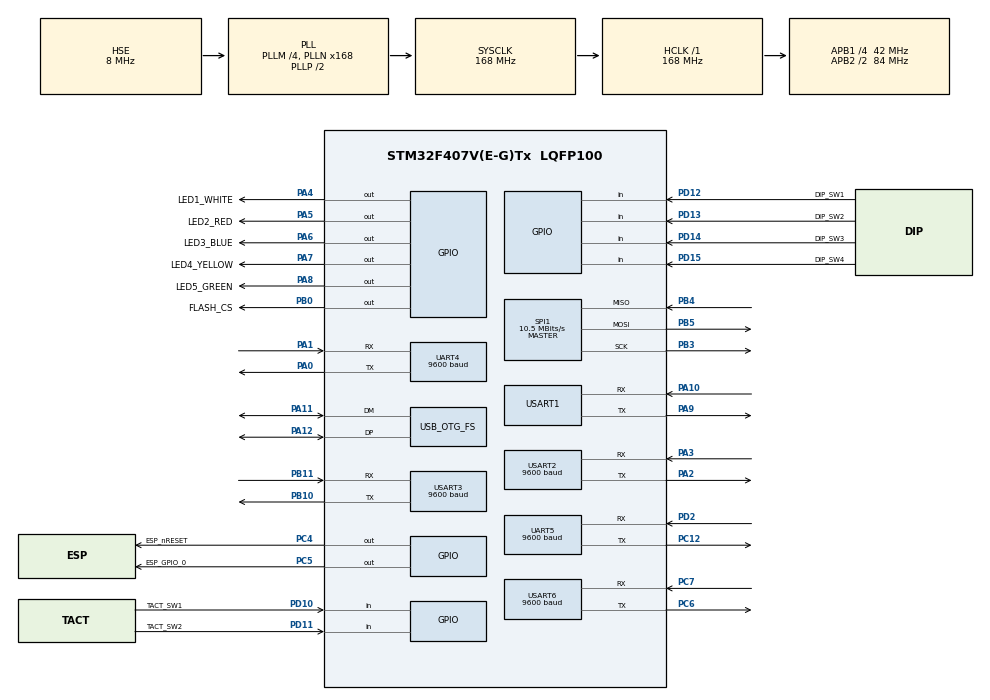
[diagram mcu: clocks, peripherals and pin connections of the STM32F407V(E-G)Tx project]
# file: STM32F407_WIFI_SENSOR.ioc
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Mcu.Family=STM32F4
Mcu.Name=STM32F407V(E-G)Tx
Mcu.Package=LQFP100
NVIC.OTG_FS_IRQn=true\:0\:0\:false\:false\:true\:false\:true\:true
NVIC.PriorityGroup=NVIC_PRIORITYGROUP_4
NVIC.SPI1_IRQn=true\:0\:0\:false\:false\:true\:true\:true\:true
NVIC.TIM4_IRQn=true\:0\:0\:false\:false\:true\:true\:true\:true
NVIC.UART4_IRQn=true\:0\:0\:false\:false\:true\:true\:true\:true
NVIC.UART5_IRQn=true\:0\:0\:false\:false\:true\:true\:true\:true
NVIC.USART1_IRQn=true\:0\:0\:false\:false\:true\:true\:true\:true
NVIC.USART2_IRQn=true\:0\:0\:false\:false\:true\:true\:true\:true
NVIC.USART3_IRQn=true\:0\:0\:false\:false\:true\:true\:true\:true
NVIC.USART6_IRQn=true\:0\:0\:false\:false\:true\:true\:true\:true
PA0-WKUP.Mode=Asynchronous
PA0-WKUP.Signal=UART4_TX
PA1.Mode=Asynchronous
PA1.Signal=UART4_RX
PA10.Mode=Asynchronous
PA10.Signal=USART1_RX
PA11.Mode=Device_Only
PA11.Signal=USB_OTG_FS_DM
PA12.Mode=Device_Only
PA12.Signal=USB_OTG_FS_DP
PA13.Mode=Serial_Wire
PA13.Signal=SYS_JTMS-SWDIO
PA14.Mode=Serial_Wire
PA14.Signal=SYS_JTCK-SWCLK
PA2.Mode=Asynchronous
PA2.Signal=USART2_TX
PA3.Mode=Asynchronous
PA3.Signal=USART2_RX
PA4.GPIO_Label=LED1_WHITE
PA4.Signal=GPIO_Output
PA5.GPIO_Label=LED2_RED
PA5.Signal=GPIO_Output
PA6.GPIO_Label=LED3_BLUE
PA6.Signal=GPIO_Output
PA7.GPIO_Label=LED4_YELLOW
PA7.Signal=GPIO_Output
PA8.GPIO_Label=LED5_GREEN
PA8.Signal=GPIO_Output
PA9.Mode=Asynchronous
PA9.Signal=USART1_TX
PB0.GPIO_Label=FLASH_CS
PB0.Signal=GPIO_Output
PB10.Mode=Asynchronous
PB10.Signal=USART3_TX
PB11.Mode=Asynchronous
PB11.Signal=USART3_RX
PB3.Mode=Full_Duplex_Master
PB3.Signal=SPI1_SCK
PB4.Mode=Full_Duplex_Master
PB4.Signal=SPI1_MISO
PB5.Mode=Full_Duplex_Master
PB5.Signal=SPI1_MOSI
PC12.Mode=Asynchronous
PC12.Signal=UART5_TX
PC14-OSC32_IN.Mode=LSE-External-Oscillator
PC14-OSC32_IN.Signal=RCC_OSC32_IN
PC15-OSC32_OUT.Mode=LSE-External-Oscillator
PC15-OSC32_OUT.Signal=RCC_OSC32_OUT
PC4.GPIO_Label=ESP_nRESET
PC4.PinState=GPIO_PIN_SET
PC4.Signal=GPIO_Output
PC5.GPIO_Label=ESP_GPIO_0
PC5.Signal=GPIO_Output
PC6.Mode=Asynchronous
PC6.Signal=USART6_TX
PC7.Mode=Asynchronous
PC7.Signal=USART6_RX
PD10.GPIO_Label=TACT_SW1
PD10.Signal=GPIO_Input
PD11.GPIO_Label=TACT_SW2
PD11.Signal=GPIO_Input
PD12.GPIO_Label=DIP_SW1
PD12.Signal=GPIO_Input
PD13.GPIO_Label=DIP_SW2
PD13.Signal=GPIO_Input
PD14.GPIO_Label=DIP_SW3
PD14.Signal=GPIO_Input
PD15.GPIO_Label=DIP_SW4
PD15.Signal=GPIO_Input
PD2.Mode=Asynchronous
PD2.Signal=UART5_RX
PH0-OSC_IN.Mode=HSE-External-Oscillator
PH0-OSC_IN.Signal=RCC_OSC_IN
PH1-OSC_OUT.Mode=HSE-External-Oscillator
PH1-OSC_OUT.Signal=RCC_OSC_OUT
ProjectManager.HeapSize=0x1000
ProjectManager.StackSize=0x1000
ProjectManager.TargetToolchain=STM32CubeIDE
RCC.48MHZClocksFreq_Value=48000000
RCC.AHBFreq_Value=168000000
RCC.APB1CLKDivider=RCC_HCLK_DIV4
RCC.APB1Freq_Value=42000000
RCC.APB1TimFreq_Value=84000000
RCC.APB2CLKDivider=RCC_HCLK_DIV2
RCC.APB2Freq_Value=84000000
RCC.APB2TimFreq_Value=168000000
RCC.CortexFreq_Value=168000000
RCC.HCLKFreq_Value=168000000
RCC.HSE_VALUE=8000000
RCC.HSI_VALUE=16000000
RCC.PLLM=4
RCC.PLLN=168
RCC.PLLQ=7
RCC.SYSCLKFreq_VALUE=168000000
RCC.SYSCLKSource=RCC_SYSCLKSOURCE_PLLCLK
RCC.VCOOutputFreq_Value=336000000
SPI1.BaudRatePrescaler=SPI_BAUDRATEPRESCALER_8
SPI1.CalculateBaudRate=10.5 MBits/s
SPI1.Direction=SPI_DIRECTION_2LINES
SPI1.Mode=SPI_MODE_MASTER
SPI1.VirtualType=VM_MASTER
TIM4.AutoReloadPreload=TIM_AUTORELOAD_PRELOAD_DISABLE
TIM4.Period=999
TIM4.Prescaler=8399
TIM4.TIM_MasterOutputTrigger=TIM_TRGO_RESET
UART4.BaudRate=9600
UART4.VirtualMode=Asynchronous
UART5.BaudRate=9600
UART5.VirtualMode=Asynchronous
USART1.VirtualMode=VM_ASYNC
USART2.BaudRate=9600
USART2.VirtualMode=VM_ASYNC
USART3.BaudRate=9600
USART3.VirtualMode=VM_ASYNC
USART6.BaudRate=9600
USART6.VirtualMode=VM_ASYNC
USB_DEVICE.CLASS_NAME_FS=CDC
USB_DEVICE.VirtualMode-CDC_FS=Cdc
USB_DEVICE.VirtualModeFS=Cdc_FS
USB_OTG_FS.VirtualMode=Device_Only
VP_TIM4_VS_ClockSourceINT.Mode=Internal
VP_USB_DEVICE_VS_USB_DEVICE_CDC_FS.Mode=CDC_FS
board=custom

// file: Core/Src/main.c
/* USER CODE BEGIN Header */
/**
  ******************************************************************************
  * @file           : main.c
  * @brief          : Main program body
  ******************************************************************************
  * @attention
  *
  * <h2><center>&copy; Copyright (c) 2021 STMicroelectronics.
  * All rights reserved.</center></h2>
  *
  * This software component is licensed by ST under BSD 3-Clause license,
  * the "License"; You may not use this file except in compliance with the
  * License. You may obtain a copy of the License at:
  *                        opensource.org/licenses/BSD-3-Clause
  *
  ******************************************************************************
  */
/* USER CODE END Header */
#include "main.h"
#include "spi.h"
#include "tim.h"
#include "usart.h"
#include "usb_device.h"
#include "gpio.h"

/* USER CODE BEGIN Includes */
#include "WiFi.h"
#include "LedBlink.h"
#include "usbd_cdc_if.h"
#include "Sensor.h"
#include "w25q16.h"

/* USER CODE END Includes */

/* USER CODE BEGIN PD */
#define WHITE_LED_ON					0
#define BLINK_WHITE_LED_INTERVAL		500

#define MODE_NORMAL					0
#define MODE_ESP_PASS_THROUGH		1

/* USER CODE END PD */

/* USER CODE BEGIN PV */

APINFO apInfo = { "WIFI_2.4G", "1234567890", 7890 };

uint32_t board_id_ = 0;
uint32_t blink_white_led_tick_ = 0;

/* USER CODE END PV */

void SystemClock_Config(void);
/* USER CODE BEGIN PFP */
uint32_t GetBoardID();

void BlinkWhiteLED(uint32_t _current_tick);
void CheckSwitchLED();
void CheckCDC(uint32_t _current_tick);

/* USER CODE END PFP */

/* USER CODE BEGIN 0 */
uint32_t g_mode = 0;
uint32_t esp_path_through_interval = 5000;
uint32_t esp_path_through_tick = 0;

/* USER CODE END 0 */

int main(void)
{
  /* USER CODE BEGIN 1 */
	LBP	lbpPowerLED;
	LBP	lbpStatusLED;
	LBP	lbpWiFiLED;
	LBP	lbpUartLED;
	LBP	lbpDebugLED;

	char sensorPacket[100];

	uint32_t current_tick_ = 0;
	//uint32_t display_time_tick_ = 0;
	//uint32_t check_reservation_tick_ = 0;
	//uint32_t sensor_interval_tick_ = 0;
	uint32_t is_pressed_all_tact_sw = 0;

  /* USER CODE END 1 */

  /* MCU Configuration--------------------------------------------------------*/

  /* Reset of all peripherals, Initializes the Flash interface and the Systick. */
  HAL_Init();

  /* Configure the system clock */
  SystemClock_Config();

  /* Initialize all configured peripherals */
  MX_GPIO_Init();
  MX_TIM4_Init();
  MX_UART4_Init();
  MX_UART5_Init();
  MX_USART1_UART_Init();
  MX_USART2_UART_Init();
  MX_USART3_UART_Init();
  MX_USART6_UART_Init();
  MX_SPI1_Init();
  MX_USB_DEVICE_Init();
  /* USER CODE BEGIN 2 */
	UART_Init();

	HAL_GPIO_WritePin(LED1_WHITE_GPIO_Port, LED1_WHITE_Pin, GPIO_PIN_SET);
	HAL_GPIO_WritePin(LED2_RED_GPIO_Port, LED2_RED_Pin, GPIO_PIN_SET);
	HAL_GPIO_WritePin(LED3_BLUE_GPIO_Port, LED3_BLUE_Pin, GPIO_PIN_SET);
	HAL_GPIO_WritePin(LED4_YELLOW_GPIO_Port, LED4_YELLOW_Pin, GPIO_PIN_SET);
	HAL_GPIO_WritePin(LED5_GREEN_GPIO_Port, LED5_GREEN_Pin, GPIO_PIN_SET);

	HAL_TIM_Base_Start_IT(&htim4);

#if 1
	board_id_ = GetBoardID();
	SetCdiID(board_id_);
	InitSensor((uint16_t)board_id_);

    //////////////////////////////////////////////////////////////////////////////////////
	// ?????? ???????? ?????? LED?? Blink ????????? ???.
	InitBlinkLLED(&lbpPowerLED, LED1_WHITE_GPIO_Port, LED1_WHITE_Pin);
	//SetupBlinkLED(&lbpPowerLED, 0, 1000, 1);
	SetupBlinkLEDDetail(&lbpPowerLED, LED_BLINK_PERIODICALLY, 0, 1000, 1, 5);

	InitBlinkLLED(&lbpStatusLED, LED3_BLUE_GPIO_Port, LED3_BLUE_Pin);
	//SetupBlinkLED(&lbpStatusLED, 0, 1000, 1);
	SetupBlinkLEDDetail(&lbpStatusLED, LED_BLINK_PERIODICALLY, 0, 1000, 1, 5);

	//////////////////////////////////////////////////////////////////////////////////////
	// UART ????????? ?????????.
	HAL_UART_Receive_IT(&huart1, &gUarts[UART_ESP12].rxChar, 1);
	HAL_UART_Receive_IT(&huart2, &gUarts[UART_TEMP_HUM].rxChar, 1);
	HAL_UART_Receive_IT(&huart3, &gUarts[UART_TENSION].rxChar, 1);
	HAL_UART_Receive_IT(&huart4, &gUarts[UART_UV].rxChar, 1);
	HAL_UART_Receive_IT(&huart5, &gUarts[UART_DUST].rxChar, 1);
	HAL_UART_Receive_IT(&huart6, &gUarts[UART_VIBRATION].rxChar, 1);

	//////////////////////////////////////////////////////////////////////////////////////
	// WiFi Module??? 초기??? ???.
	ResetESP8266ByGPIO();
	//HAL_GPIO_WritePin(ESP_nRESET_GPIO_Port, ESP_nRESET_Pin, GPIO_PIN_RESET);
	//HAL_Delay(2000);
	//HAL_GPIO_WritePin(ESP_nRESET_GPIO_Port, ESP_nRESET_Pin, GPIO_PIN_SET);
	//HAL_GPIO_WritePin(ESP_nRESET_GPIO_Port, ESP_nRESET_Pin, GPIO_PIN_RESET);
	//////////////////////////////////////////////////////////////////////////////////////

#endif

#if 0

  //HAL_SPI_MspInit(&hspi1);
  //HAL_GPIO_WritePin(GPIOB, GPIO_PIN_0, GPIO_PIN_SET);

    //for (int j = 0; j < 5; j++) {
        uint8_t cnt = 10;
        uint32_t sector_num = 5;
        flash_erase_sector(sector_num);
        //HAL_Delay(100);

        //flash_read_sector(buffer2, sector_num, 0, 128);
        //HAL_Delay(100);

        for(uint8_t i=0; i<128; i++) {
            buffer1[i] = 20 + cnt++;
        }

        flash_write_sector(buffer1, sector_num, 0, 128);
        //HAL_Delay(100);

        flash_read_sector(buffer2, sector_num, 0, 128);
        flash_read_sector(buffer2, sector_num, 0, 128);
        //HAL_Delay(100);
    //}
#endif

  /* USER CODE END 2 */

  /* Infinite loop */
  /* USER CODE BEGIN WHILE */

	while (1)
	{
		current_tick_ = HAL_GetTick();

#if 0
		HAL_UART_BypassTest();
		UART_TX_DefaultProc();
#else
		UART_RX_DefaultProc();

		if ((0 != IsConnectedArduinoServer()) && (1 == IsUpdatedSensorFlag()) &&
			(IsExpiredIntervalTick(current_tick_))) {

			MakeSensorPacket(sensorPacket, sizeof(sensorPacket));

			uint32_t _count = strlen(sensorPacket);
			SendSensorPacketByWiFi((uint8_t*)sensorPacket, _count);
			SetLastIntervalTick(current_tick_);

			ClearUpdatedSensorFlag();
		}

		UART_TX_DefaultProc();
		//WiFi_DefaultProc(current_tick_);
#endif

    /* USER CODE END WHILE */

    /* USER CODE BEGIN 3 */
		if (GPIO_PIN_SET == HAL_GPIO_ReadPin(TACT_SW1_GPIO_Port, TACT_SW1_Pin)) {
			HAL_GPIO_WritePin(ESP_nRESET_GPIO_Port, ESP_nRESET_Pin, GPIO_PIN_SET);
		}
		else {
			HAL_GPIO_WritePin(ESP_nRESET_GPIO_Port, ESP_nRESET_Pin, GPIO_PIN_RESET);
		}
		//CheckCDC(current_tick_);
		//CheckSwitchLED();
		//BlinkWhiteLED(current_tick_);

		CheckConnectingServer(current_tick_);

		// TODO
		// 1. ????? 모드?????? TACT1, TACT2??? 5초동??? ???르면 esp path through 모드?? 진입???.
		// 3. esp path through 모드?????? TACT1??? ???르면 ESP nReset??? low?? ???. ????? High?? ???.
		//    TACT2?? ???르면 BOOT(GPIO))?? Low?? ???. ????? High?? ???.
		// 4. esp path through 모드?????? CDC??? RX?? TX??? ESP8266 모듈?? ???결되???
		//
		//
		// 2. esp path through 모드?????? TACT1, TACT2??? 5초동??? ???르면 ????? 모드?? 진입???.
		//
		//

/*
#define MODE_NORMAL					0
#define MODE_ESP_PASS_THROUGH		1

		uint32_t g_mode = 0;
		uint32_t esp_path_through_interval = 5000;
		uint32_t esp_path_through_tick = 0;
		uint32_t is_pressed_all_tact_sw = 0;

#define ESP_nRESET_Pin GPIO_PIN_4
#define ESP_nRESET_GPIO_Port GPIOC
#define ESP_GPIO_0_Pin GPIO_PIN_5
#define ESP_GPIO_0_GPIO_Port GPIOC
*/
		do {
			GPIO_PinState tact_sw1_state = HAL_GPIO_ReadPin(TACT_SW1_GPIO_Port, TACT_SW1_Pin);
			GPIO_PinState tact_sw2_state = HAL_GPIO_ReadPin(TACT_SW2_GPIO_Port, TACT_SW2_Pin);

			if ((GPIO_PIN_RESET == tact_sw1_state) && (GPIO_PIN_RESET == tact_sw2_state))  {
				is_pressed_all_tact_sw = 1;
			}
			else {
				is_pressed_all_tact_sw = 0;
			}

			if ((1 == is_pressed_all_tact_sw) && (MODE_NORMAL == g_mode)) {
				if (0 == esp_path_through_interval) {
					esp_path_through_tick = current_tick_;
				}

				if (esp_path_through_interval <=  (current_tick_ - esp_path_through_tick)) {
					g_mode = MODE_ESP_PASS_THROUGH;
					SetupBlinkLEDDetail(&lbpStatusLED, LED_BLINK_PERIODICALLY, 1, 2000, 4, 5);
				}
			}
			else if ((1 == is_pressed_all_tact_sw) && (MODE_ESP_PASS_THROUGH == g_mode)) {
				if (0 == esp_path_through_interval) {
					esp_path_through_tick = current_tick_;
				}
				if (esp_path_through_interval <=  (current_tick_ - esp_path_through_tick)) {
					g_mode = MODE_NORMAL;
					//SetupBlinkLED(&lbpStatusLED, 0, 1000, 1);
					SetupBlinkLEDDetail(&lbpStatusLED, LED_BLINK_PERIODICALLY, 0, 1000, 1, 5);
				}
			}

			if (MODE_ESP_PASS_THROUGH == g_mode) {
				if (GPIO_PIN_RESET == tact_sw1_state) {
					HAL_GPIO_WritePin(ESP_nRESET_GPIO_Port, ESP_nRESET_Pin, GPIO_PIN_RESET);
				}
				else {
					HAL_GPIO_WritePin(ESP_nRESET_GPIO_Port, ESP_nRESET_Pin, GPIO_PIN_SET);
				}

				if (GPIO_PIN_RESET == tact_sw2_state) {
					HAL_GPIO_WritePin(ESP_GPIO_0_GPIO_Port, ESP_GPIO_0_Pin, GPIO_PIN_RESET);
				}
				else {
					HAL_GPIO_WritePin(ESP_GPIO_0_GPIO_Port, ESP_GPIO_0_Pin, GPIO_PIN_SET);
				}
			}
		}
		while(0);

		BlinkLED(&lbpPowerLED, current_tick_);
		BlinkLED(&lbpStatusLED, current_tick_);
	}
  /* USER CODE END 3 */
}

void SystemClock_Config(void)
{
  RCC_OscInitTypeDef RCC_OscInitStruct = {0};
  RCC_ClkInitTypeDef RCC_ClkInitStruct = {0};

  /** Configure the main internal regulator output voltage
  */
  __HAL_RCC_PWR_CLK_ENABLE();
  __HAL_PWR_VOLTAGESCALING_CONFIG(PWR_REGULATOR_VOLTAGE_SCALE1);
  /** Initializes the RCC Oscillators according to the specified parameters
  * in the RCC_OscInitTypeDef structure.
  */
  RCC_OscInitStruct.OscillatorType = RCC_OSCILLATORTYPE_HSE;
  RCC_OscInitStruct.HSEState = RCC_HSE_ON;
  RCC_OscInitStruct.PLL.PLLState = RCC_PLL_ON;
  RCC_OscInitStruct.PLL.PLLSource = RCC_PLLSOURCE_HSE;
  RCC_OscInitStruct.PLL.PLLM = 4;
  RCC_OscInitStruct.PLL.PLLN = 168;
  RCC_OscInitStruct.PLL.PLLP = RCC_PLLP_DIV2;
  RCC_OscInitStruct.PLL.PLLQ = 7;
  if (HAL_RCC_OscConfig(&RCC_OscInitStruct) != HAL_OK)
  {
    Error_Handler();
  }
  /** Initializes the CPU, AHB and APB buses clocks
  */
  RCC_ClkInitStruct.ClockType = RCC_CLOCKTYPE_HCLK|RCC_CLOCKTYPE_SYSCLK
                              |RCC_CLOCKTYPE_PCLK1|RCC_CLOCKTYPE_PCLK2;
  RCC_ClkInitStruct.SYSCLKSource = RCC_SYSCLKSOURCE_PLLCLK;
  RCC_ClkInitStruct.AHBCLKDivider = RCC_SYSCLK_DIV1;
  RCC_ClkInitStruct.APB1CLKDivider = RCC_HCLK_DIV4;
  RCC_ClkInitStruct.APB2CLKDivider = RCC_HCLK_DIV2;

  if (HAL_RCC_ClockConfig(&RCC_ClkInitStruct, FLASH_LATENCY_5) != HAL_OK)
  {
    Error_Handler();
  }
}

/* USER CODE BEGIN 4 */

uint32_t GetBoardID()
{
	uint32_t _board_id = 0;

	if (GPIO_PIN_RESET == HAL_GPIO_ReadPin(DIP_SW1_GPIO_Port, DIP_SW1_Pin)) {
		_board_id |= 0x01;
	}

	if (GPIO_PIN_RESET == HAL_GPIO_ReadPin(DIP_SW2_GPIO_Port, DIP_SW2_Pin)) {
		_board_id |= 0x02;
	}

	if (GPIO_PIN_RESET == HAL_GPIO_ReadPin(DIP_SW3_GPIO_Port, DIP_SW3_Pin)) {
		_board_id |= 0x04;
	}

	if (GPIO_PIN_RESET == HAL_GPIO_ReadPin(DIP_SW4_GPIO_Port, DIP_SW4_Pin)) {
		_board_id |= 0x08;
	}

	return _board_id;
}

void BlinkWhiteLED(uint32_t _current_tick)
{
	if (BLINK_WHITE_LED_INTERVAL < (_current_tick - blink_white_led_tick_)) {
		blink_white_led_tick_ = _current_tick;
		HAL_GPIO_TogglePin(LED1_WHITE_GPIO_Port, LED1_WHITE_Pin);
#if 0
		uint8_t strValue[10] = "350";
		PUART_Q pRxQ = &gUarts[UART_UV].rxQ;
		CQ_PushString(pRxQ, strValue, 3);
#endif
	}
}

void CheckSwitchLED()
{
	GPIO_PinState tact_sw1_state = HAL_GPIO_ReadPin(TACT_SW1_GPIO_Port, TACT_SW1_Pin);
	GPIO_PinState tact_sw2_state = HAL_GPIO_ReadPin(TACT_SW2_GPIO_Port, TACT_SW2_Pin);
	GPIO_PinState dip_sw1_state = HAL_GPIO_ReadPin(DIP_SW1_GPIO_Port, DIP_SW1_Pin);
	GPIO_PinState dip_sw2_state = HAL_GPIO_ReadPin(DIP_SW2_GPIO_Port, DIP_SW2_Pin);
	GPIO_PinState dip_sw3_state = HAL_GPIO_ReadPin(DIP_SW3_GPIO_Port, DIP_SW3_Pin);
	GPIO_PinState dip_sw4_state = HAL_GPIO_ReadPin(DIP_SW4_GPIO_Port, DIP_SW4_Pin);

	if ((GPIO_PIN_RESET == tact_sw1_state) || (GPIO_PIN_RESET == tact_sw2_state))  {
		  HAL_GPIO_WritePin(LED1_WHITE_GPIO_Port, LED1_WHITE_Pin, GPIO_PIN_RESET);
	}
	else {
		  HAL_GPIO_WritePin(LED1_WHITE_GPIO_Port, LED1_WHITE_Pin, GPIO_PIN_SET);
	}

	if (GPIO_PIN_RESET == dip_sw1_state) {
		HAL_GPIO_WritePin(LED2_RED_GPIO_Port, LED2_RED_Pin, GPIO_PIN_RESET);
	}
	else {
		  HAL_GPIO_WritePin(LED2_RED_GPIO_Port, LED2_RED_Pin, GPIO_PIN_SET);
	}

	if (GPIO_PIN_RESET == dip_sw2_state) {
		  HAL_GPIO_WritePin(LED3_BLUE_GPIO_Port, LED3_BLUE_Pin, GPIO_PIN_RESET);
	}
	else {
		  HAL_GPIO_WritePin(LED3_BLUE_GPIO_Port, LED3_BLUE_Pin, GPIO_PIN_SET);
	}

	if (GPIO_PIN_RESET == dip_sw3_state) {
		  HAL_GPIO_WritePin(LED4_YELLOW_GPIO_Port, LED4_YELLOW_Pin, GPIO_PIN_RESET);
	}
	else {
		  HAL_GPIO_WritePin(LED4_YELLOW_GPIO_Port, LED4_YELLOW_Pin, GPIO_PIN_SET);
	}

	if (GPIO_PIN_RESET == dip_sw4_state) {
		  HAL_GPIO_WritePin(LED5_GREEN_GPIO_Port, LED5_GREEN_Pin, GPIO_PIN_RESET);
	}
	else {
		  HAL_GPIO_WritePin(LED5_GREEN_GPIO_Port, LED5_GREEN_Pin, GPIO_PIN_SET);
	}
}

void CheckCDC(uint32_t _current_tick)
{
	static uint32_t test_cdc_tick_ = 0;

	if ((_current_tick - test_cdc_tick_) > 10) {
		test_cdc_tick_ = _current_tick;
		uint8_t buffer[100] = "CDC test string...\r\n";
		uint16_t string_length = 21;
		CDC_Transmit_FS(buffer, string_length);
	}
}

/* USER CODE END 4 */

void Error_Handler(void)
{
  __disable_irq();
  while (1)
  {
  }
}

/************************ (C) COPYRIGHT STMicroelectronics *****END OF FILE****/
